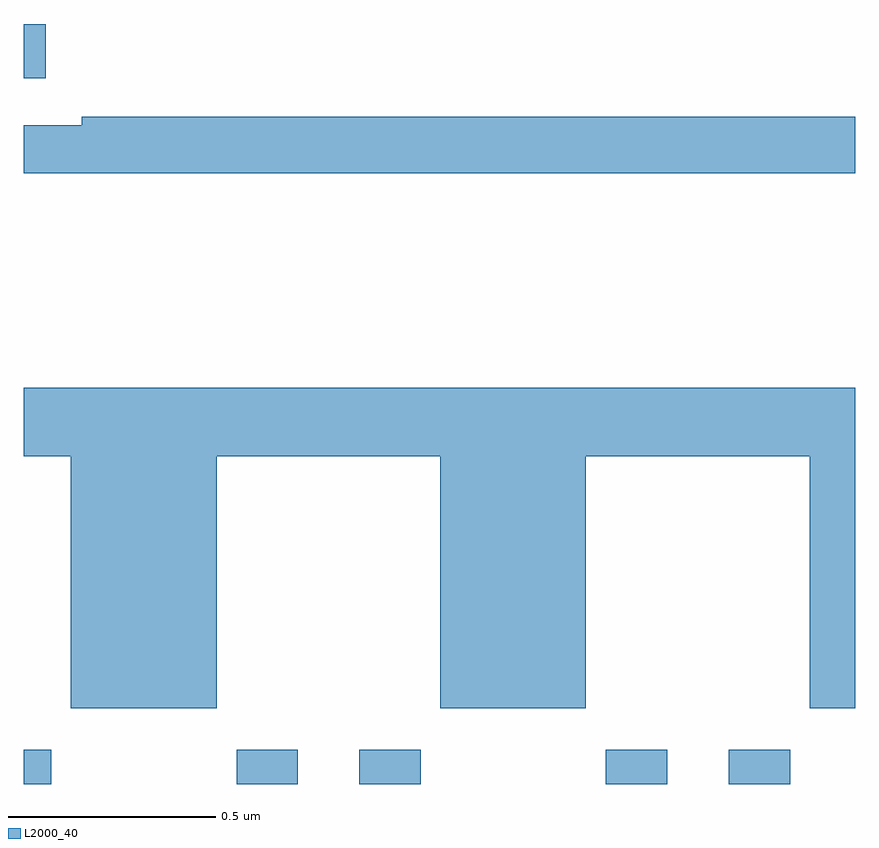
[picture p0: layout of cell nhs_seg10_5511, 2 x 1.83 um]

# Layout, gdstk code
import gdstk
lib = gdstk.Library(unit=1e-6, precision=1e-09)
def R(c, l, rs):  # rectangles x0, y0, x1, y1
    for r in rs: c.add(gdstk.rectangle(r[:2], r[2:], *l))
def P(c, l, *ps):  # polygons
    for p in ps: c.add(gdstk.Polygon(p, *l))
L2000_40 = (2000, 40)

nhs_seg10_5511 = lib.new_cell('nhs_seg10_5511')
R(nhs_seg10_5511, L2000_40, [(179,1327.5,179.067,1327.582), (179.512,1327.5,179.659,1327.582), (179.807,1327.5,179.955,1327.582), (180.4,1327.5,180.547,1327.582), (180.695,1327.5,180.843,1327.582), (179,1329.197,179.053,1329.327)])
P(nhs_seg10_5511, L2000_40, [(181,1329.104),(179.14,1329.104),(179.14,1329.084),(179,1329.084),(179,1328.968),(181,1328.968)],
  [(179.464,1328.288),(180.002,1328.288),(180.002,1327.682),(180.352,1327.682),(180.352,1328.288),(180.89,1328.288),(180.89,1327.682),(181,1327.682),(181,1328.452),(179,1328.452),(179,1328.288),(179.114,1328.288),(179.114,1327.682),(179.464,1327.682)])

lib.write_gds('nhs_seg10_5511.gds')
